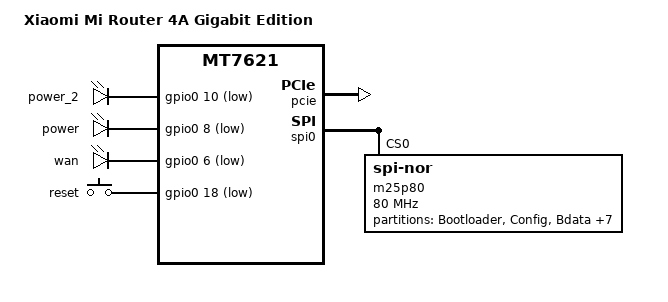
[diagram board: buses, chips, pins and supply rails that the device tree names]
/dts-v1/;

#include "mt7621.dtsi"
#include <dt-bindings/input/input.h>
#include "mt7621-raeth-gmac2.dtsi"
#include "mt7621-pinctrl-default-gpio.dtsi"

/ {
	compatible = "mediatek,mt7621-soc";
	model = "Xiaomi Mi Router 4A Gigabit Edition";

	chosen {
		bootargs = "console=ttyS0,115200";
	};

	leds {
		compatible = "gpio-leds";

		sys_yellow {
			label = "power_2";
			gpios = <&gpio0 10 GPIO_ACTIVE_LOW>;
		};

		sys_blue {
			label = "power";
			gpios = <&gpio0 8 GPIO_ACTIVE_LOW>;
		};

		net_blue {
			label = "wan";
			gpios = <&gpio0 6 GPIO_ACTIVE_LOW>;
		};

	};

	gpio-keys-polled {
		compatible = "gpio-keys-polled";
		#address-cells = <1>;
		#size-cells = <0>;
		poll-interval = <20>;

		reset {
			label = "reset";
			gpios = <&gpio0 18 GPIO_ACTIVE_LOW>;
			linux,code = <KEY_RESTART>;
		};
		
	};
	
};

&pcie {
	status = "okay";
};

&spi0 {
	status = "okay";

	m25p80@0 {
		#address-cells = <1>;
		#size-cells = <1>;
		compatible = "jedec,spi-nor";
		reg = <0>;
		spi-max-frequency = <80000000>;
		m25p,fast-read;

		partition@0 {
			label = "Bootloader";
			reg = <0x00000 0x30000>; /* 192K */
		};

		partition@30000 {
			label = "Config";
			reg = <0x30000 0x10000>; /* 64K, uboot-env */
		};

		partition@40000 {
			label = "Bdata";
			reg = <0x40000 0x10000>; /* 64K, factory data */
		};

		partition@50000 {
			label = "Factory";
			reg = <0x50000 0x10000>; /* 64K, eeprom */
		};
		
		partition@60000 {
			label = "crash";
			reg = <0x60000 0x10000>; /* 64K, xiaomeme specific */
		};
		
		partition@70000 {
			label = "cfg_bak";
			reg = <0x70000 0x10000>; /* 64K, xiaomemebruh */
		};

		partition@80000 {
			label = "overlay";
			reg = <0x80000 0x100000>; /* 1M, common openwrt overlay */
		};
		
		partition@180000 {
			label = "firmware";
			reg = <0x180000 0xe00000>; /* 14M */
		};
		
		partition@f80000 {
			label = "Storage";
			reg = <0xf80000 0x80000>; /* 512K, padavan specific partition */
		};
		
		partition@all {
			label = "ALL";
			reg = <0x0 0x1000000>;
		};
	};
};
